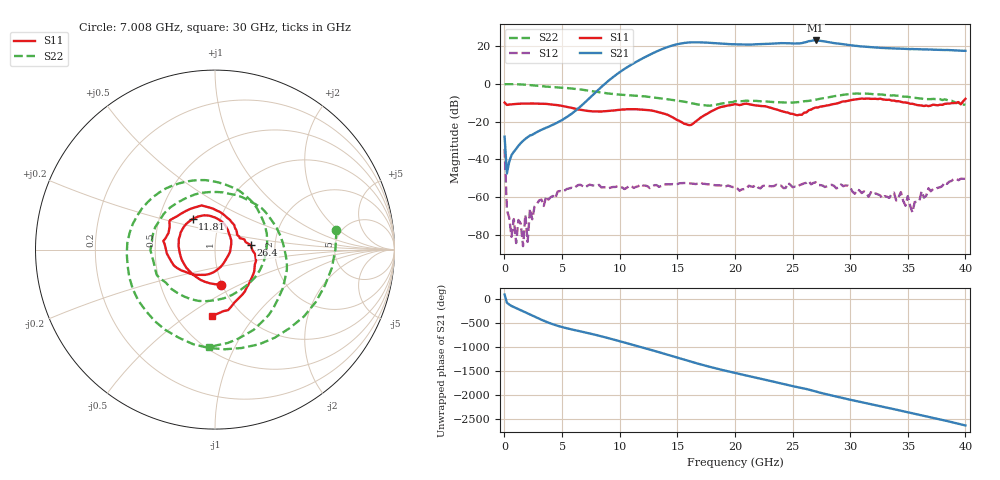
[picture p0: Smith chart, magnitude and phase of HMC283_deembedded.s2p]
!Hittite Microwave Corporation
!12 Elizabeth Drive
!Chelmsford, MA 01824
!Tel: 978-250-3343
!Fax: 978-250-3373
!Device: HMC283, 17-40 GHz Medium Power GaAs MMIC Amplifier
!Misc: Vdd=+3.5V, Data includes (two) K connectors, Room
# MHZ S MA R 50
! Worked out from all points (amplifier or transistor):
!   201 points, 10 MHz to 40 GHz, reference 50 ohm
!   highest |S21| = 23.0 dB at 27 GHz (marker M1)
!   |S21| within 3 dB of that: 14.39 GHz to 30.71 GHz (16.32 GHz wide, 72.4 % of centre)
!   unconditionally stable (mu >= 1): start of sweep to end of sweep
!   at 6.608 GHz: K = 437.15, MAG = -8.6 dB, |S12| = -53.5 dB
!   at 20 GHz: K = 19.18, MAG = 21.9 dB, |S12| = -54.5 dB
!   at 40 GHz: K = 16.76, MAG = 18.7 dB, |S12| = -50.3 dB
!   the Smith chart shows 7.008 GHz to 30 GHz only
!   S11 on the Smith chart (normalised r, x): 7.008 GHz: 0.98, -0.40; 11.81 GHz: 0.74, +0.26; 26.4 GHz: 1.50, +0.08; 30 GHz: 0.74, -0.63
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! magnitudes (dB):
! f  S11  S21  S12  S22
! 10 MHz  -9.9  -28.0  -34.4  -0.1
! 209.9 MHz  -11.1  -47.5  -66.8  -0.1
! 609.9 MHz  -10.8  -37.7  -81.0  -0.1
! 809.8 MHz  -10.7  -35.9  -71.6  -0.1
! 1.61 GHz  -10.4  -30.2  -85.9  -0.3
! 1.81 GHz  -10.4  -29.1  -69.3  -0.4
! 2.01 GHz  -10.4  -28.2  -83.7  -0.5
! 2.209 GHz  -10.4  -27.3  -66.2  -0.6
! 3.009 GHz  -10.4  -24.9  -61.7  -1.1
! 6.808 GHz  -14.0  -10.8  -54.2  -3.1
! 7.008 GHz  -14.1  -9.7  -54.9  -3.3
! 11.81 GHz  -13.5  13.0  -53.1  -6.4
! 13.41 GHz  -15.0  17.8  -54.5  -7.5
! 16.21 GHz  -21.7  22.0  -52.8  -10.2
! 20 GHz  -10.7  20.9  -54.5  -9.2
! 26.4 GHz  -13.9  22.7  -51.4  -9.0
! 26.8 GHz  -13.0  23.0  -52.5  -8.6
! 27 GHz  -12.5  23.0  -52.1  -8.4
! 30 GHz  -8.7  20.5  -54.7  -5.3
! 33.4 GHz  -8.4  18.9  -60.4  -6.0
! 35.4 GHz  -10.5  18.5  -68.0  -7.3
! 40 GHz  -7.9  17.6  -50.3  -11.0
